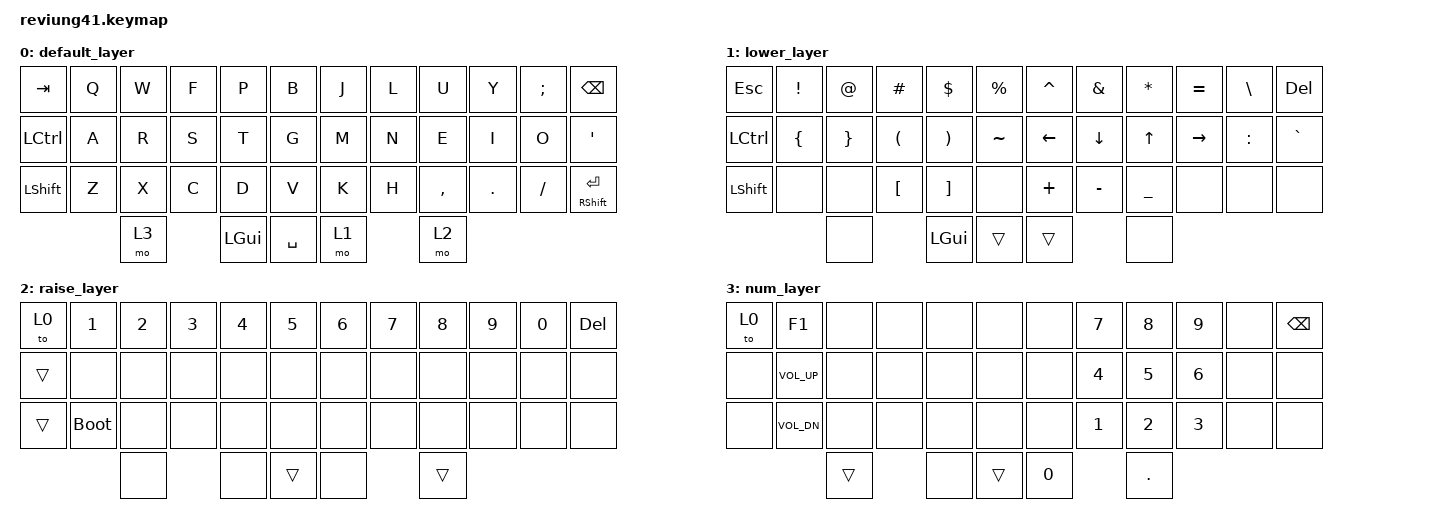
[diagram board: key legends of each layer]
/*
 * Copyright (c) 2020 The ZMK Contributors
 *
 * SPDX-License-Identifier: MIT
 */

#include <behaviors.dtsi>
#include <dt-bindings/zmk/keys.h>
#include <dt-bindings/zmk/bt.h>
#include <dt-bindings/zmk/rgb.h>

/ {
    combos {
        compatible = "zmk,combos";
        combo_alt {
            timeout-ms = <50>;
            key-positions = <36 37>;
            bindings = <&kp LALT>;
        };
        combo_caps {
            timeout-ms = <50>;
            key-positions = <37 39>;
            bindings = <&kp CAPS>;
        };
    };
};

/ {
        keymap {
                compatible = "zmk,keymap";

                default_layer {
//
// ------------------------------------------------------------------------------------
// |  TAB |  Q  |  W  |  F  |  P  |  B  |||||  J  |  L  |  U  |  Y  |  ;  |   BKSP    |
// | CTRL |  A  |  R  |  S  |  T  |  G  |||||  M  |  N  |  E  |  I  |  O  |    ''     |
// | SHFT |  Z  |  X  |  C  |  D  |  V  |||||  K  |  H  |  ,  |  .  |  /  | SHFT(RET) |
//                         | LY3 | GUI | SPC | LY1 | LY2 |
//
                        bindings = <
   &kp TAB   &kp Q &kp W &kp F &kp P &kp B   &kp J &kp L  &kp U     &kp Y   &kp SEMI &kp BSPC
   &kp LCTRL &kp A &kp R &kp S &kp T &kp G   &kp M &kp N  &kp E     &kp I   &kp O    &kp SQT
   &kp LSHFT &kp Z &kp X &kp C &kp D &kp V   &kp K &kp H  &kp COMMA &kp DOT &kp FSLH &mt RSHFT RET
                      &mo 3  &kp LGUI &kp SPACE &mo 1  &mo 2
                        >;
                };

                lower_layer {
//
// -------------------------------------------------------------------------------
// | ESC  |  !  |  @  |  #  |  $  |  %  ||||||  ^  |  &  |  *  |  =  |  \  | DEL |
// | CTRL |  {  |  }  |  (  |  )  |  ~  ||||||  ←  |  ↓  |  ↑  |  →  |  :  |  `  |
// | SHFT |     |     |  [  |  ]  |     ||||||  +  |  -  |  _  |     |     |     |
//                        |     | GUI | trans | trans |     |
//
                        bindings = <
   &kp ESC   &kp EXCL &kp AT   &kp HASH  &kp DLLR  &kp PRCNT     &kp CARET &kp AMPS  &kp ASTRK &kp EQUAL &kp BSLH  &kp DEL
   &kp LCTRL &kp LBRC &kp RBRC &kp LPAR  &kp RPAR  &kp TILDE     &kp LEFT  &kp DOWN  &kp UP    &kp RIGHT &kp COLON &kp GRAVE
   &kp LSHFT &none    &none    &kp LBKT  &kp RBKT  &none         &kp PLUS  &kp MINUS &kp UNDER &none     &none     &none
                                    &none      &kp LGUI    &trans        &trans      &none
                        >;
                };

                raise_layer {
//
// -------------------------------------------------------------------------------
// | LY0 |  1  |  2  |  3  |  4  |  5  |||||  6  |  7  |  8  |  9  |  0  |  DEL  |
// |     |     |     |     |     |     |||||     |     |     |     |     |       |
// |     | BOOT|     |     |     |     |||||     |     |     |     |     |       |
//                        |     |     |     |     |     |
//
                        bindings = <
   &to 0  &kp N1       &kp N2      &kp N3   &kp N4   &kp N5         &kp N6    &kp N7   &kp N8    &kp N9    &kp N0    &kp DEL
   &trans &none        &none       &none    &none    &none          &none     &none    &none     &none     &none     &none
   &trans &bootloader  &none       &none    &none    &none          &none     &none    &none     &none     &none     &none
                               &none      &none       &trans        &none       &trans
                        >;
                };

                num_layer {
//
// ---------------------------------------------------------------------------------
// | LY0 |  F1  |     |     |     |     |||||||     |  7  |  8  |  9  |     | BKSP |
// |     | VOL + |     |     |     |     |||||||     |  4  |  5  |  6  |     |      |
// |     | VOL - |     |     |     |     |||||||     |  1  |  2  |  3  |     |      |
//                         |     |     |       |  0  |  .  |
//
                        bindings = <
   &to 0 &kp F1       &none &none &none &none    &none &kp N7 &kp N8 &kp N9 &none &kp BSPC
   &none &kp C_VOL_UP &none &none &none &none    &none &kp N4 &kp N5 &kp N6 &none &none
   &none &kp C_VOL_DN &none &none &none &none    &none &kp N1 &kp N2 &kp N3 &none &none
                               &trans &none &trans &kp N0 &kp DOT
                        >;
                };
        };
};
